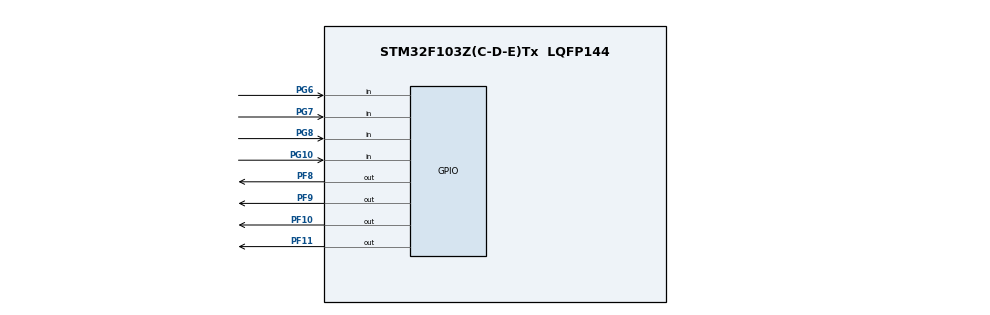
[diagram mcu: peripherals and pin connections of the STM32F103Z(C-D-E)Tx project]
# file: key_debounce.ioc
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Mcu.Family=STM32F1
Mcu.Name=STM32F103Z(C-D-E)Tx
Mcu.Package=LQFP144
NVIC.PriorityGroup=NVIC_PRIORITYGROUP_4
OSC_IN.Mode=HSE-External-Oscillator
OSC_IN.Signal=RCC_OSC_IN
OSC_OUT.Mode=HSE-External-Oscillator
OSC_OUT.Signal=RCC_OSC_OUT
PA13.Mode=Serial_Wire
PA13.Signal=SYS_JTMS-SWDIO
PA14.Mode=Serial_Wire
PA14.Signal=SYS_JTCK-SWCLK
PC14-OSC32_IN.Mode=LSE-External-Oscillator
PC14-OSC32_IN.Signal=RCC_OSC32_IN
PC15-OSC32_OUT.Mode=LSE-External-Oscillator
PC15-OSC32_OUT.Signal=RCC_OSC32_OUT
PF10.GPIO_ModeDefaultOutputPP=GPIO_MODE_OUTPUT_OD
PF10.GPIO_PuPd=GPIO_NOPULL
PF10.PinState=GPIO_PIN_SET
PF10.Signal=GPIO_Output
PF11.GPIO_ModeDefaultOutputPP=GPIO_MODE_OUTPUT_OD
PF11.GPIO_PuPd=GPIO_NOPULL
PF11.PinState=GPIO_PIN_SET
PF11.Signal=GPIO_Output
PF8.GPIO_ModeDefaultOutputPP=GPIO_MODE_OUTPUT_OD
PF8.GPIO_PuPd=GPIO_NOPULL
PF8.PinState=GPIO_PIN_SET
PF8.Signal=GPIO_Output
PF9.GPIO_ModeDefaultOutputPP=GPIO_MODE_OUTPUT_OD
PF9.GPIO_PuPd=GPIO_NOPULL
PF9.PinState=GPIO_PIN_SET
PF9.Signal=GPIO_Output
PG10.Signal=GPIO_Input
PG6.Signal=GPIO_Input
PG7.Signal=GPIO_Input
PG8.Signal=GPIO_Input
ProjectManager.HeapSize=0x200
ProjectManager.StackSize=0x400
ProjectManager.TargetToolchain=MDK-ARM V5.32
RCC.APB1Freq_Value=8000000
RCC.APB2Freq_Value=8000000
board=custom

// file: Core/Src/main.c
/* USER CODE BEGIN Header */
/**
 ******************************************************************************
 * @file           : main.c
 * @brief          : Main program body
 ******************************************************************************
 * @attention
 *
 * Copyright (c) 2026 STMicroelectronics.
 * All rights reserved.
 *
 * This software is licensed under terms that can be found in the LICENSE file
 * in the root directory of this software component.
 * If no LICENSE file comes with this software, it is provided AS-IS.
 *
 ******************************************************************************
 */
/* USER CODE END Header */
#include "main.h"

/* USER CODE BEGIN Includes */
#include <stdbool.h>
/* USER CODE END Includes */

/* USER CODE BEGIN PTD */
typedef enum
{
  LED1 = 1,
  LED2,
  LED3,
  LED4,
} LED_t;

typedef enum
{
  KEY1 = 1,
  KEY2,
  KEY3,
  KEY4,
} KEY_t;

/* USER CODE END PTD */

void SystemClock_Config(void);
static void MX_GPIO_Init(void);
/* USER CODE BEGIN PFP */
//        函数声明
void BSP_LED_Control(LED_t led, bool falg);
void BSP_LED_ON(LED_t led);
void BSP_LED_OFF(LED_t led);
bool BSP_KEY_Read(KEY_t key);
/* USER CODE END PFP */

int main(void)
{

  /* MCU Configuration--------------------------------------------------------*/

  /* Reset of all peripherals, Initializes the Flash interface and the Systick. */
  HAL_Init();

  /* Configure the system clock */
  SystemClock_Config();

  /* Initialize all configured peripherals */
  MX_GPIO_Init();
  /* USER CODE BEGIN 2 */
//BSP_LED_ON(LED1);
//HAL_Delay(1000);
//BSP_LED_ON(LED2);
//HAL_Delay(1000);
//BSP_LED_ON(LED3);
//HAL_Delay(1000);
//BSP_LED_ON(LED4);
  /* USER CODE END 2 */

  /* Infinite loop */
  /* USER CODE BEGIN WHILE */
  while (1)
  {
    BSP_KEY_Read(LED1)?BSP_LED_ON(LED1):BSP_LED_OFF(LED1);
    BSP_KEY_Read(LED2)?BSP_LED_ON(LED2):BSP_LED_OFF(LED2);
    BSP_KEY_Read(LED3)?BSP_LED_ON(LED3):BSP_LED_OFF(LED3);
    BSP_KEY_Read(LED4)?BSP_LED_ON(LED4):BSP_LED_OFF(LED4);
    /* USER CODE END WHILE */

  }
}

void SystemClock_Config(void)
{
  RCC_OscInitTypeDef RCC_OscInitStruct = {0};
  RCC_ClkInitTypeDef RCC_ClkInitStruct = {0};

  /** Initializes the RCC Oscillators according to the specified parameters
  * in the RCC_OscInitTypeDef structure.
  */
  RCC_OscInitStruct.OscillatorType = RCC_OSCILLATORTYPE_HSI;
  RCC_OscInitStruct.HSIState = RCC_HSI_ON;
  RCC_OscInitStruct.HSICalibrationValue = RCC_HSICALIBRATION_DEFAULT;
  RCC_OscInitStruct.PLL.PLLState = RCC_PLL_NONE;
  if (HAL_RCC_OscConfig(&RCC_OscInitStruct) != HAL_OK)
  {
    Error_Handler();
  }

  /** Initializes the CPU, AHB and APB buses clocks
  */
  RCC_ClkInitStruct.ClockType = RCC_CLOCKTYPE_HCLK|RCC_CLOCKTYPE_SYSCLK
                              |RCC_CLOCKTYPE_PCLK1|RCC_CLOCKTYPE_PCLK2;
  RCC_ClkInitStruct.SYSCLKSource = RCC_SYSCLKSOURCE_HSI;
  RCC_ClkInitStruct.AHBCLKDivider = RCC_SYSCLK_DIV1;
  RCC_ClkInitStruct.APB1CLKDivider = RCC_HCLK_DIV1;
  RCC_ClkInitStruct.APB2CLKDivider = RCC_HCLK_DIV1;

  if (HAL_RCC_ClockConfig(&RCC_ClkInitStruct, FLASH_LATENCY_0) != HAL_OK)
  {
    Error_Handler();
  }
}

static void MX_GPIO_Init(void)
{
  GPIO_InitTypeDef GPIO_InitStruct = {0};

  /* GPIO Ports Clock Enable */
  __HAL_RCC_GPIOC_CLK_ENABLE();
  __HAL_RCC_GPIOF_CLK_ENABLE();
  __HAL_RCC_GPIOG_CLK_ENABLE();
  __HAL_RCC_GPIOA_CLK_ENABLE();

  /*Configure GPIO pin Output Level */
  HAL_GPIO_WritePin(GPIOF, GPIO_PIN_8|GPIO_PIN_9|GPIO_PIN_10|GPIO_PIN_11, GPIO_PIN_SET);

  /*Configure GPIO pins : PF8 PF9 PF10 PF11 */
  GPIO_InitStruct.Pin = GPIO_PIN_8|GPIO_PIN_9|GPIO_PIN_10|GPIO_PIN_11;
  GPIO_InitStruct.Mode = GPIO_MODE_OUTPUT_OD;
  GPIO_InitStruct.Pull = GPIO_NOPULL;
  GPIO_InitStruct.Speed = GPIO_SPEED_FREQ_LOW;
  HAL_GPIO_Init(GPIOF, &GPIO_InitStruct);

  /*Configure GPIO pins : PG6 PG7 PG8 PG10 */
  GPIO_InitStruct.Pin = GPIO_PIN_6|GPIO_PIN_7|GPIO_PIN_8|GPIO_PIN_10;
  GPIO_InitStruct.Mode = GPIO_MODE_INPUT;
  GPIO_InitStruct.Pull = GPIO_NOPULL;
  HAL_GPIO_Init(GPIOG, &GPIO_InitStruct);

}

/* USER CODE BEGIN 4 */
bool BSP_KEY_Read(KEY_t key)
{
GPIO_PinState ret=false;
switch(key)
{
case KEY1:
ret=HAL_GPIO_ReadPin(GPIOG,GPIO_PIN_10)==GPIO_PIN_RESET;
break;
case KEY2:
ret=HAL_GPIO_ReadPin(GPIOG,GPIO_PIN_6)==GPIO_PIN_RESET;
break;
case KEY3:
ret=HAL_GPIO_ReadPin(GPIOG,GPIO_PIN_8)==GPIO_PIN_RESET;
break;
case KEY4:
ret=HAL_GPIO_ReadPin(GPIOG,GPIO_PIN_7)==GPIO_PIN_RESET;
break;
default:
break;
}
return ret;
  // switch (key)
  // {
  // case KEY1:
  // if(HAL_GPIO_ReadPin(GPIOG,GPIO_PIN_10)==GPIO_PIN_RESET)
  // {
  //   HAL_Delay(20);
  //   if(HAL_GPIO_ReadPin(GPIOG,GPIO_PIN_10)==GPIO_PIN_RESET)
  //   {
  //   HAL_GPIO_WritePin(GPIOF,GPIO_PIN_8,GPIO_PIN_RESET);
  //   }
  // }
  // else
  // {
  //   HAL_GPIO_WritePin(GPIOF,GPIO_PIN_8,GPIO_PIN_SET);
  // }
  //   break;
  // case KEY2:
  // if(HAL_GPIO_ReadPin(GPIOG,GPIO_PIN_6)==GPIO_PIN_RESET)
  // {
  //   HAL_Delay(20);
  //   if(HAL_GPIO_ReadPin(GPIOG,GPIO_PIN_6)==GPIO_PIN_RESET)
  //   {
  //   HAL_GPIO_WritePin(GPIOF,GPIO_PIN_9,GPIO_PIN_RESET);
  //   }
  // }
  // else
  // {
  //   HAL_GPIO_WritePin(GPIOF,GPIO_PIN_9,GPIO_PIN_SET);
  // }
  //   break;
  // case KEY3:
  // if(HAL_GPIO_ReadPin(GPIOG,GPIO_PIN_8)==GPIO_PIN_RESET)
  // {
  //   HAL_Delay(20);
  //   if(HAL_GPIO_ReadPin(GPIOG,GPIO_PIN_8)==GPIO_PIN_RESET)
  //   {
  //   HAL_GPIO_WritePin(GPIOF,GPIO_PIN_10,GPIO_PIN_RESET);
  //   }
  // }
  // else
  // {
  //   HAL_GPIO_WritePin(GPIOF,GPIO_PIN_10,GPIO_PIN_SET);
  // }
  //   break;
  // case KEY4:
  // if(HAL_GPIO_ReadPin(GPIOG,GPIO_PIN_7)==GPIO_PIN_RESET)
  // {
  //   HAL_Delay(20);
  //   if(HAL_GPIO_ReadPin(GPIOG,GPIO_PIN_7)==GPIO_PIN_RESET)
  //   {
  //   HAL_GPIO_WritePin(GPIOF,GPIO_PIN_11,GPIO_PIN_RESET);
  //   }
  // }
  //  else
  // {
  //   HAL_GPIO_WritePin(GPIOF,GPIO_PIN_11,GPIO_PIN_SET);
  // }
  //   break;
  // default:
  //   break;
  // }
}
// falg==ture or false (0on/1off)
void BSP_LED_Control(LED_t led, bool falg)
{
  GPIO_PinState sat = falg ? GPIO_PIN_RESET : GPIO_PIN_SET;
  switch (led)
  {
  case LED1:
    HAL_GPIO_WritePin(GPIOF, GPIO_PIN_8, sat);
    break;
  case LED2:
    HAL_GPIO_WritePin(GPIOF, GPIO_PIN_9, sat);
    break;
  case LED3:
    HAL_GPIO_WritePin(GPIOF, GPIO_PIN_10, sat);
    break;
  case LED4:
    HAL_GPIO_WritePin(GPIOF, GPIO_PIN_11, sat);
    break;
  default:
    break;
  }
}
void BSP_LED_ON(LED_t led)
{
  BSP_LED_Control(led,true);
}
void BSP_LED_OFF(LED_t led)
{
  BSP_LED_Control(led,false);
}
/* USER CODE END 4 */

void Error_Handler(void)
{
  __disable_irq();
  while (1)
  {
  }
}
